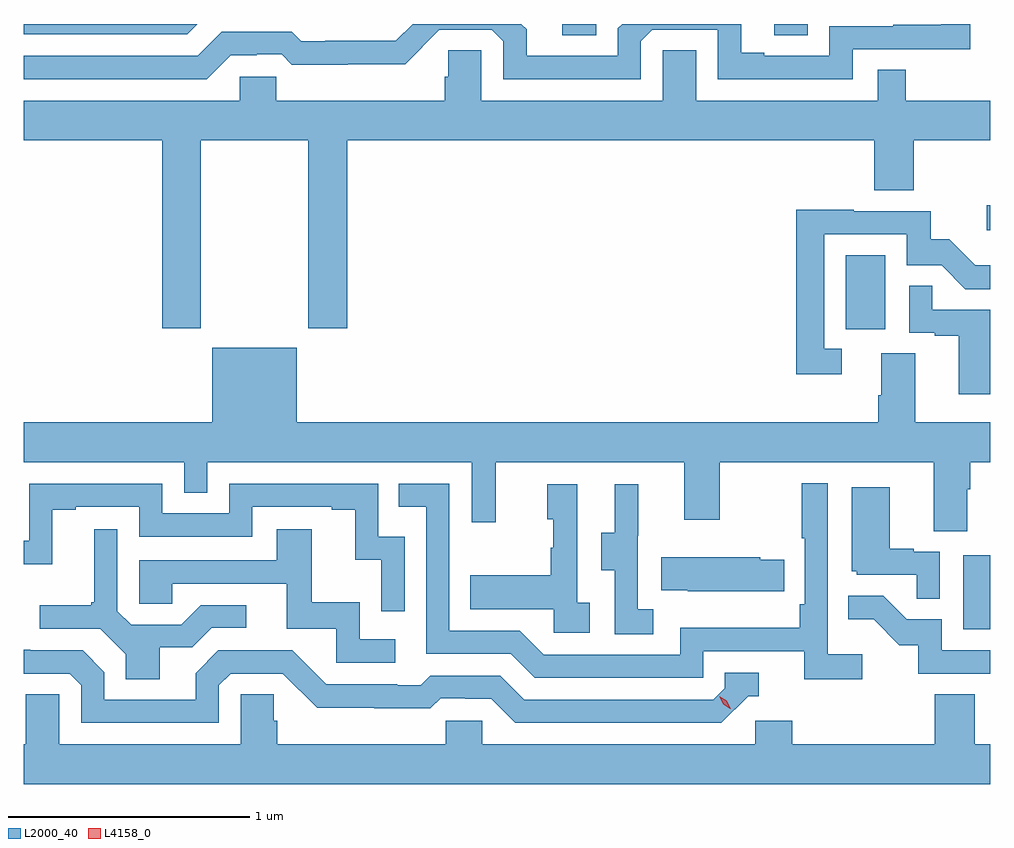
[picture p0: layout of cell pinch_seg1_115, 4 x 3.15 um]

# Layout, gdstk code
import gdstk
lib = gdstk.Library(unit=1e-6, precision=1e-09)
def R(c, l, rs):  # rectangles x0, y0, x1, y1
    for r in rs: c.add(gdstk.rectangle(r[:2], r[2:], *l))
def P(c, l, *ps):  # polygons
    for p in ps: c.add(gdstk.Polygon(p, *l))
L2000_40 = (2000, 40)
L4158_0 = (4158, 0)

pinch_seg1_115 = lib.new_cell('pinch_seg1_115')
R(pinch_seg1_115, L2000_40, [(1068.236,560.364,1068.348,560.671), (1067.75,561.606,1067.914,561.913), (1068.333,562.016,1068.348,562.118), (1066.577,562.822,1066.717,562.869), (1067.453,562.822,1067.593,562.869)])
P(pinch_seg1_115, L2000_40, [(1065.067,562.869),(1064.348,562.869),(1064.348,562.827),(1065.025,562.827)],
  [(1065.205,562.74),(1065.312,562.74),(1065.312,562.743),(1065.415,562.743),(1065.457,562.701),(1065.69,562.701),(1065.69,562.703),(1065.926,562.703),(1066.068,562.845),(1066.284,562.845),(1066.332,562.797),(1066.332,562.641),(1066.902,562.641),(1066.902,562.797),(1066.95,562.845),(1067.22,562.845),(1067.22,562.641),(1067.778,562.641),(1067.778,562.764),(1068.265,562.764),(1068.265,562.869),(1068.144,562.869),(1068.144,562.865),(1067.947,562.865),(1067.947,562.86),(1067.682,562.86),(1067.682,562.737),(1067.413,562.737),(1067.413,562.75),(1067.317,562.75),(1067.317,562.869),(1066.824,562.869),(1066.806,562.851),(1066.806,562.737),(1066.429,562.737),(1066.429,562.847),(1066.407,562.869),(1065.957,562.869),(1065.888,562.8),(1065.595,562.8),(1065.595,562.797),(1065.496,562.797),(1065.457,562.836),(1065.168,562.836),(1065.069,562.737),(1064.348,562.737),(1064.348,562.641),(1065.106,562.641)],
  [(1065.081,562.388),(1065.526,562.388),(1065.526,561.609),(1065.686,561.609),(1065.686,562.388),(1067.867,562.388),(1067.867,562.18),(1068.032,562.18),(1068.032,562.388),(1068.348,562.388),(1068.348,562.552),(1067.999,562.552),(1067.999,562.679),(1067.883,562.679),(1067.883,562.552),(1067.131,562.552),(1067.131,562.76),(1066.992,562.76),(1066.992,562.552),(1066.242,562.552),(1066.242,562.76),(1066.105,562.76),(1066.105,562.65),(1066.091,562.65),(1066.091,562.552),(1065.393,562.552),(1065.393,562.65),(1065.243,562.65),(1065.243,562.552),(1064.348,562.552),(1064.348,562.388),(1064.921,562.388),(1064.921,561.609),(1065.081,561.609)],
  [(1067.734,561.525),(1067.661,561.525),(1067.661,561.999),(1068.003,561.999),(1068.003,561.87),(1068.147,561.87),(1068.245,561.772),(1068.348,561.772),(1068.348,561.871),(1068.285,561.871),(1068.178,561.978),(1068.102,561.978),(1068.102,562.095),(1067.783,562.095),(1067.783,562.1),(1067.545,562.1),(1067.545,561.42),(1067.734,561.42)],
  [(1068.348,561.687),(1068.107,561.687),(1068.107,561.785),(1068.012,561.785),(1068.012,561.591),(1068.119,561.591),(1068.119,561.579),(1068.218,561.579),(1068.218,561.336),(1068.348,561.336)],
  [(1068.253,560.944),(1068.266,560.944),(1068.266,561.056),(1068.348,561.056),(1068.348,561.22),(1068.037,561.22),(1068.037,561.506),(1067.897,561.506),(1067.897,561.332),(1067.885,561.332),(1067.885,561.22),(1065.478,561.22),(1065.478,561.529),(1065.128,561.529),(1065.128,561.22),(1064.348,561.22),(1064.348,561.056),(1065.012,561.056),(1065.012,560.929),(1065.108,560.929),(1065.108,561.056),(1066.203,561.056),(1066.203,560.808),(1066.301,560.808),(1066.301,561.056),(1067.081,561.056),(1067.081,560.817),(1067.229,560.817),(1067.229,561.056),(1068.113,561.056),(1068.113,560.77),(1068.253,560.77)],
  [(1067.818,560.26),(1067.676,560.26),(1067.676,560.968),(1067.568,560.968),(1067.568,560.74),(1067.58,560.74),(1067.58,560.467),(1067.56,560.467),(1067.56,560.371),(1067.064,560.371),(1067.064,560.259),(1066.5,560.259),(1066.401,560.358),(1066.11,560.358),(1066.11,560.967),(1065.901,560.967),(1065.901,560.871),(1066.014,560.871),(1066.014,560.262),(1066.364,560.262),(1066.463,560.163),(1067.16,560.163),(1067.16,560.274),(1067.579,560.274),(1067.579,560.158),(1067.818,560.158)],
  [(1065.924,560.748),(1065.816,560.748),(1065.816,560.967),(1065.198,560.967),(1065.198,560.844),(1064.922,560.844),(1064.922,560.967),(1064.37,560.967),(1064.37,560.731),(1064.348,560.731),(1064.348,560.633),(1064.467,560.633),(1064.467,560.859),(1064.563,560.859),(1064.563,560.871),(1064.826,560.871),(1064.826,560.748),(1065.294,560.748),(1065.294,560.871),(1065.623,560.871),(1065.623,560.859),(1065.719,560.859),(1065.719,560.651),(1065.828,560.651),(1065.828,560.439),(1065.924,560.439)],
  [(1066.69,560.474),(1066.638,560.474),(1066.638,560.965),(1066.514,560.965),(1066.514,560.82),(1066.54,560.82),(1066.54,560.702),(1066.53,560.702),(1066.53,560.587),(1066.195,560.587),(1066.195,560.447),(1066.542,560.447),(1066.542,560.349),(1066.69,560.349)],
  [(1066.954,560.447),(1066.89,560.447),(1066.89,560.751),(1066.892,560.751),(1066.892,560.965),(1066.793,560.965),(1066.793,560.763),(1066.739,560.763),(1066.739,560.608),(1066.794,560.608),(1066.794,560.344),(1066.954,560.344)],
  [(1068.138,560.685),(1068.032,560.685),(1068.032,560.698),(1067.932,560.698),(1067.932,560.953),(1067.774,560.953),(1067.774,560.604),(1067.796,560.604),(1067.796,560.589),(1068.043,560.589),(1068.043,560.491),(1068.138,560.491)],
  [(1064.911,560.29),(1065.046,560.29),(1065.126,560.37),(1065.268,560.37),(1065.268,560.463),(1065.08,560.463),(1064.999,560.382),(1064.793,560.382),(1064.736,560.439),(1064.736,560.779),(1064.639,560.779),(1064.639,560.476),(1064.628,560.476),(1064.628,560.464),(1064.415,560.464),(1064.415,560.367),(1064.664,560.367),(1064.771,560.26),(1064.771,560.158),(1064.911,560.158)],
  [(1065.886,560.322),(1065.738,560.322),(1065.738,560.476),(1065.539,560.476),(1065.539,560.779),(1065.395,560.779),(1065.395,560.649),(1064.826,560.649),(1064.826,560.469),(1064.963,560.469),(1064.963,560.553),(1065.437,560.553),(1065.437,560.367),(1065.642,560.367),(1065.642,560.226),(1065.886,560.226)],
  [(1067.495,560.652),(1067.397,560.652),(1067.397,560.662),(1066.987,560.662),(1066.987,560.525),(1067.095,560.525),(1067.095,560.522),(1067.495,560.522)],
  [(1068.348,560.277),(1068.147,560.277),(1068.147,560.406),(1068.003,560.406),(1067.905,560.504),(1067.761,560.504),(1067.761,560.405),(1067.865,560.405),(1067.972,560.298),(1068.049,560.298),(1068.049,560.181),(1068.348,560.181)],
  [(1065.156,560.133),(1065.204,560.181),(1065.42,560.181),(1065.562,560.039),(1065.798,560.039),(1065.798,560.037),(1066.031,560.037),(1066.073,560.079),(1066.176,560.079),(1066.176,560.076),(1066.283,560.076),(1066.382,559.977),(1067.235,559.977),(1067.346,560.088),(1067.389,560.088),(1067.389,560.184),(1067.25,560.184),(1067.25,560.121),(1067.202,560.073),(1066.419,560.073),(1066.32,560.172),(1066.031,560.172),(1065.992,560.133),(1065.893,560.133),(1065.893,560.136),(1065.6,560.136),(1065.459,560.277),(1065.153,560.277),(1065.059,560.183),(1065.059,560.073),(1064.682,560.073),(1064.682,560.187),(1064.592,560.277),(1064.376,560.277),(1064.376,560.279),(1064.348,560.279),(1064.348,560.181),(1064.538,560.181),(1064.586,560.133),(1064.586,559.977),(1065.156,559.977)],
  [(1068.348,559.888),(1068.284,559.888),(1068.284,560.096),(1068.119,560.096),(1068.119,559.888),(1067.528,559.888),(1067.528,559.986),(1067.376,559.986),(1067.376,559.888),(1066.245,559.888),(1066.245,559.986),(1066.095,559.986),(1066.095,559.888),(1065.398,559.888),(1065.398,559.986),(1065.383,559.986),(1065.383,560.096),(1065.246,560.096),(1065.246,559.888),(1064.496,559.888),(1064.496,560.096),(1064.357,560.096),(1064.357,559.888),(1064.348,559.888),(1064.348,559.724),(1068.348,559.724)])
P(pinch_seg1_115, L4158_0, [(1067.272,560.035),(1067.242,560.055),(1067.227,560.087),(1067.227,560.088),(1067.227,560.088),(1067.257,560.068),(1067.273,560.035),(1067.273,560.035)])

lib.write_gds('pinch_seg1_115.gds')
